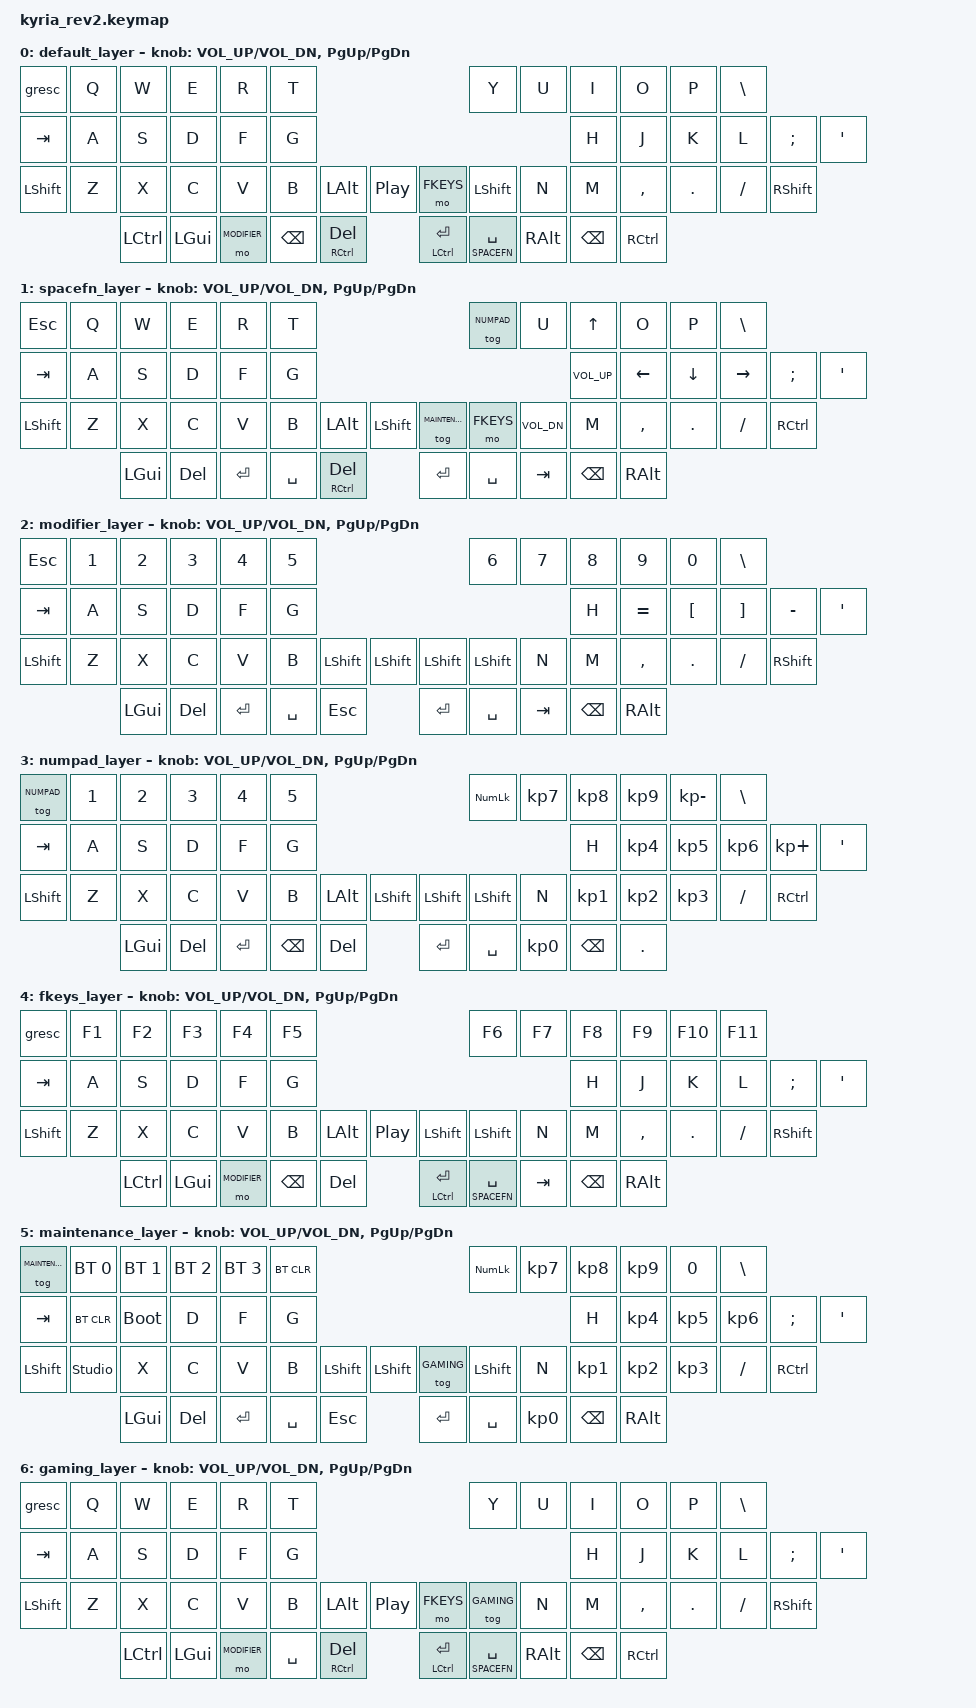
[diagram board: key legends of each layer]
/*
 * Copyright (c) 2020 The ZMK Contributors
 *
 * SPDX-License-Identifier: MIT
 * kyria split layout by typorian
 */

#include <behaviors.dtsi>
#include <dt-bindings/zmk/keys.h>
#include <dt-bindings/zmk/bt.h>

#define DEFAULT 0
#define SPACEFN 1
#define MODIFIER 2
#define NUMPAD 3
#define FKEYS 4
#define MAINTENANCE 5
#define GAMING 6

/ {
    behaviors {
        gresc: grave_escape {
            compatible = "zmk,behavior-mod-morph";
            label = "GRAVE_ESCAPE";
            #binding-cells = <0>;
            bindings = <&kp ESC>, <&kp GRAVE>;
            mods = <(MOD_LGUI|MOD_LSFT|MOD_RGUI|MOD_RSFT)>;
	    keep-mods = <(MOD_LSFT)>;
        };
    };

  macros {
    my_wasd_loop: my_wasd_loop {
      compatible = "zmk,behavior-macro";
	  wait-ms = <2>;
	  tap-ms = <0>;
	  #binding-cells = <0>;  // No parameters needed in this case
      bindings = 
        <&macro_press &kp W>,  // Press and hold W
        <&macro_wait_time 500>,     // Wait for 0.5 seconds
        <&macro_release &kp W>, // Release W
        <&macro_press &kp A>,  // Press and hold A
        <&macro_wait_time 500>,     // Wait for 0.5 seconds
        <&macro_release &kp A>, // Release A
        <&macro_press &kp S>,  // Press and hold S
        <&macro_wait_time 500>,     // Wait for 0.5 seconds
        <&macro_release &kp S>, // Release S
        <&macro_press &kp D>,  // Press and hold D
        <&macro_wait_time 500>,     // Wait for 0.5 seconds
        <&macro_release &kp D>, // Release D
		<&macro_press &my_wasd_loop>
	  ;
    };
  };
};

/ {
	keymap {
		compatible = "zmk,keymap";

		default_layer {
// ---------------------------------------------------------------------------------------------------------------------------------
// |  ESC  |  Q  |  W  |  E   |  R   |  T   |                                          |  Y   |  U    |  I    |  O   |   P   |   \  |
// |  TAB  |  A  |  S  |  D   |  F   |  G   |                                          |  H   |  J    |  K    |  L   |   ;   |   '  |
// | SHIFT |  Z  |  X  |  C   |  V   |  B   | L ALT   |playpause|  | fkeys | L SHIFT |  N   |  M    |  ,    |  .   |   /   | SHIFT|
//                     | LCTRL| GUI  | mo_1 |  BSPC   |  DEL/ctrl  |  |thctrlret|  SPCFN  | altgr | BSPC  | R-CTRL |
			bindings = <
	&gresc   &kp Q &kp W &kp E &kp R &kp T                                                &kp Y &kp U  &kp I     &kp O   &kp P    &kp BSLH
	&kp TAB   &kp A &kp S &kp D &kp F &kp G                                                &kp H &kp J  &kp K     &kp L   &kp SEMI &kp SQT
	&kp LSHFT &kp Z &kp X &kp C &kp V &kp B &kp LALT &kp C_PP        &mo FKEYS &kp LSHFT &kp N &kp M  &kp COMMA &kp DOT &kp FSLH &kp RSHFT
	                 &kp LCTRL &kp LGUI &mo MODIFIER &kp BSPC &mt RCTRL DEL        &mt LCTRL RET  &lt SPACEFN SPACE &kp RALT &kp BSPC &kp RCTRL
			>;

			sensor-bindings = <&inc_dec_kp C_VOL_UP C_VOL_DN &inc_dec_kp PG_UP PG_DN>;
		};
		spacefn_layer {
// ---------------------------------------------------------------------------------------------------------------------------------
// |  ESC  |  Q  |  W  |  E   |  R   |  T   |                                          |numpad|  U    |  UP   |  O   |   P   |   \  |
// |  TAB  |  A  |  S  |  D   |  F   |  G   |                                          |vol_up|  LFT  |  DWN  |  RGHT|   ;   |   '  |
// | SHIFT |  Z  |  X  |  C   |  V   |  B   | L ALT   | L SHIFT |  |  mntnc  | fkeys   |vol_dn|  M    |  ,    |  .   |   /   | CTRL |
//                     | GUI  | DEL  | RET  |  SPACE  |   del/ctrl |  |   RET   |  SPACE  | TAB  | BSPC  | R-ALT |
			bindings = <
	&kp ESC   &kp Q &kp W &kp E &kp R &kp T                                                &tog NUMPAD &kp U  &kp UP     &kp O   &kp P    &kp BSLH
	&kp TAB   &kp A &kp S &kp D &kp F &kp G                                                &kp C_VOL_UP &kp LEFT  &kp DOWN     &kp RIGHT   &kp SEMI &kp SQT
	&kp LSHFT &kp Z &kp X &kp C &kp V &kp B &kp LALT &kp LSHFT        &tog MAINTENANCE &mo FKEYS &kp C_VOL_DN &kp M &kp COMMA &kp DOT &kp FSLH &kp RCTRL
	                 &kp LGUI &kp DEL &kp RET &kp SPACE &mt RCTRL DEL       &kp RET  &kp SPACE  &kp TAB &kp BSPC &kp RALT
			>;

			sensor-bindings = <&inc_dec_kp C_VOL_UP C_VOL_DN &inc_dec_kp PG_UP PG_DN>;
		};
		modifier_layer {
// ---------------------------------------------------------------------------------------------------------------------------------
// |  ESC  |  1  |  2  |  3   |  4   |  5   |                                          |  6   |  7    |  8    |  9   |   0   |   \  |
// |  TAB  |  A  |  S  |  D   |  F   |  G   |                                          |  H   |  eql  |  [    |  ]   |   -   |   '  |
// | SHIFT |  Z  |  X  |  C   |  V   |  B   | L SHIFT | L SHIFT |  | L SHIFT | L SHIFT |  N   |  M    |  ,    |  .   |   /   | SHFT |
//                     | GUI  | DEL  | RET  |  SPACE  |   ESC   |  |   RET   |  SPACE  | TAB  | BSPC  | R-ALT |
			bindings = <
	&kp ESC   &kp N1 &kp N2 &kp N3 &kp N4 &kp N5                                                &kp N6 &kp N7  &kp N8     &kp N9   &kp N0    &kp BSLH
	&kp TAB   &kp A &kp S &kp D &kp F &kp G                                                &kp H &kp EQUAL &kp LEFT_BRACKET  &kp RIGHT_BRACKET  &kp MINUS &kp SQT
	&kp LSHFT &kp Z &kp X &kp C &kp V &kp B &kp LSHFT &kp LSHFT        &kp LSHFT &kp LSHFT &kp N &kp M  &kp COMMA &kp DOT &kp FSLH &kp RSHFT
	                 &kp LGUI &kp DEL &kp RET &kp SPACE &kp ESC        &kp RET  &kp SPACE  &kp TAB &kp BSPC &kp RALT
			>;

			sensor-bindings = <&inc_dec_kp C_VOL_UP C_VOL_DN &inc_dec_kp PG_UP PG_DN>;
		};
		numpad_layer {
// ---------------------------------------------------------------------------------------------------------------------------------
// |tg NMPD|  1  |  2  |  3   |  4   |  5   |                                          |  nlk |  np7  |  np8  |  np9 |   -   |   \  |
// |  TAB  |  A  |  S  |  D   |  F   |  G   |                                          |  H   |  np4  |  np5  |  np6 |   +   |   '  |
// | SHIFT |  Z  |  X  |  C   |  V   |  B   | L Alt   | L SHIFT |  | L SHIFT | L SHIFT |  N   |  np1  |  np2  |  np3 |   /   | CTRL |
//                     | GUI  | DEL  | RET  |  BSPC   |   DEL   |  |   RET   |  SPACE  | np0  | BSPC  | .     |
			bindings = <
	&tog NUMPAD   &kp N1 &kp N2 &kp N3 &kp N4 &kp N5                                                &kp KP_NLCK &kp KP_N7  &kp KP_N8     &kp KP_N9   &kp KP_MINUS    &kp BSLH
	&kp TAB   &kp A &kp S &kp D &kp F &kp G                                                &kp H &kp KP_N4  &kp KP_N5    &kp KP_N6   &kp KP_PLUS &kp SQT
	&kp LSHFT &kp Z &kp X &kp C &kp V &kp B &kp LALT &kp LSHFT        &kp LSHFT &kp LSHFT &kp N &kp KP_N1  &kp KP_N2 &kp KP_N3 &kp FSLH &kp RCTRL
	                 &kp LGUI &kp DEL &kp RET &kp BSPC &kp DEL        &kp RET  &kp SPACE  &kp KP_N0 &kp BSPC &kp DOT
			>;

			sensor-bindings = <&inc_dec_kp C_VOL_UP C_VOL_DN &inc_dec_kp PG_UP PG_DN>;
		};
		fkeys_layer {
// ---------------------------------------------------------------------------------------------------------------------------------
// |  ESC  |  F1 |  F2 |  F3  |  F4  |  F5  |                                          |  F6  |  F7   |  F8   |  F9  |   F10 |  F11 |
// |  TAB  |  A  |  S  |  D   |  F   |  G   |                                          |  H   |  J    |  K    |  L   |   ;   |   '  |
// | SHIFT |  Z  |  X  |  C   |  V   |  B   | L ALT   |playpause|  | L SHIFT | L SHIFT |  N   |  M    |  ,    |  .   |   /   | SHIFT|
//                     | LCTRL| GUI  | mo_1 |  BSPC   |   DEL   |  |thctrlret|  SPCFN  | TAB  | BSPC  | R-ALT |
			bindings = <
	&gresc   &kp F1 &kp F2 &kp F3 &kp F4 &kp F5                                                &kp F6 &kp F7  &kp F8     &kp F9   &kp F10    &kp F11
	&kp TAB   &kp A &kp S &kp D &kp F &kp G                                                &kp H &kp J  &kp K     &kp L   &kp SEMI &kp SQT
	&kp LSHFT &kp Z &kp X &kp C &kp V &kp B &kp LALT &kp C_PP        &kp LSHFT &kp LSHFT &kp N &kp M  &kp COMMA &kp DOT &kp FSLH &kp RSHFT
	                 &kp LCTRL &kp LGUI &mo MODIFIER &kp BSPC &kp DEL        &mt LCTRL RET  &lt SPACEFN SPACE &kp TAB &kp BSPC &kp RALT
			>;

			sensor-bindings = <&inc_dec_kp C_VOL_UP C_VOL_DN &inc_dec_kp PG_UP PG_DN>;
		};
		maintenance_layer {
// ---------------------------------------------------------------------------------------------------------------------------------
// |exit   |BT1  |BT2  |  BT3 | BT4  | CLRBT|                                          |  nlk |  np7  |  np8  |  np9 |   0   |   \  |
// |  TAB  |CLRBT|BTLDR|  D |  F   |  G   |                                          |  H   |  np4  |  np5  |  np6 |   ;   |   '  |
// | SHIFT |Stdio|  X  |  C   |  V   |  B   | L SHIFT | L SHIFT |  | L SHIFT | L SHIFT |  N   |  np1  |  np2  |  np3 |   /   | CTRL |
//                     | GUI  | DEL  | RET  |  SPACE  |   ESC   |  |   RET   |  SPACE  | np0  | BSPC  | R-ALT |
			bindings = <
	&tog MAINTENANCE   &bt BT_SEL 0 &bt BT_SEL 1 &bt BT_SEL 2 &bt BT_SEL 3 &bt BT_CLR        &kp KP_NLCK &kp KP_N7  &kp KP_N8 &kp KP_N9 &kp N0 &kp BSLH
	&kp TAB   &bt BT_CLR &bootloader &kp D &kp F &kp G                                      &kp H &kp KP_N4  &kp KP_N5    &kp KP_N6   &kp SEMI &kp SQT
	&kp LSHFT &studio_unlock &kp X &kp C &kp V &kp B &kp LSHFT &kp LSHFT        &tog GAMING &kp LSHFT &kp N &kp KP_N1  &kp KP_N2 &kp KP_N3 &kp FSLH &kp RCTRL
	                 &kp LGUI &kp DEL &kp RET &kp SPACE &kp ESC        &kp RET  &kp SPACE  &kp KP_N0 &kp BSPC &kp RALT
			>;

			sensor-bindings = <&inc_dec_kp C_VOL_UP C_VOL_DN &inc_dec_kp PG_UP PG_DN>;
		};
		gaming_layer {
// ---------------------------------------------------------------------------------------------------------------------------------
// |  ESC  |  Q  |  W  |  E   |  R   |  T   |                                          |  Y   |  U    |  I    |  O   |   P   |   \  |
// |  TAB  |  A  |  S  |  D   |  F   |  G   |                                          |  H   |  J    |  K    |  L   |   ;   |   '  |
// | SHIFT |  Z  |  X  |  C   |  V   |  B   | L ALT   |playpause|  | fkeys | L SHIFT |  N   |  M    |  ,    |  .   |   /   | SHIFT|
//                     | LCTRL| GUI  | mo_1 |  BSPC   |  DEL/ctrl  |  |thctrlret|  SPCFN  | altgr | BSPC  | R-CTRL |
			bindings = <
	&gresc   &kp Q &kp W &kp E &kp R &kp T                                                &kp Y &kp U  &kp I     &kp O   &kp P    &kp BSLH
	&kp TAB   &kp A &kp S &kp D &kp F &kp G                                                &kp H &kp J  &kp K     &kp L   &kp SEMI &kp SQT
	&kp LSHFT &kp Z &kp X &kp C &kp V &kp B &kp LALT &kp C_PP        &mo FKEYS &tog GAMING &kp N &kp M  &kp COMMA &kp DOT &kp FSLH &kp RSHFT
	                 &kp LCTRL &kp LGUI &mo MODIFIER &kp SPACE &mt RCTRL DEL        &mt LCTRL RET  &lt SPACEFN SPACE &kp RALT &kp BSPC &kp RCTRL
			>;

			sensor-bindings = <&inc_dec_kp C_VOL_UP C_VOL_DN &inc_dec_kp PG_UP PG_DN>;
		};
	};
};
